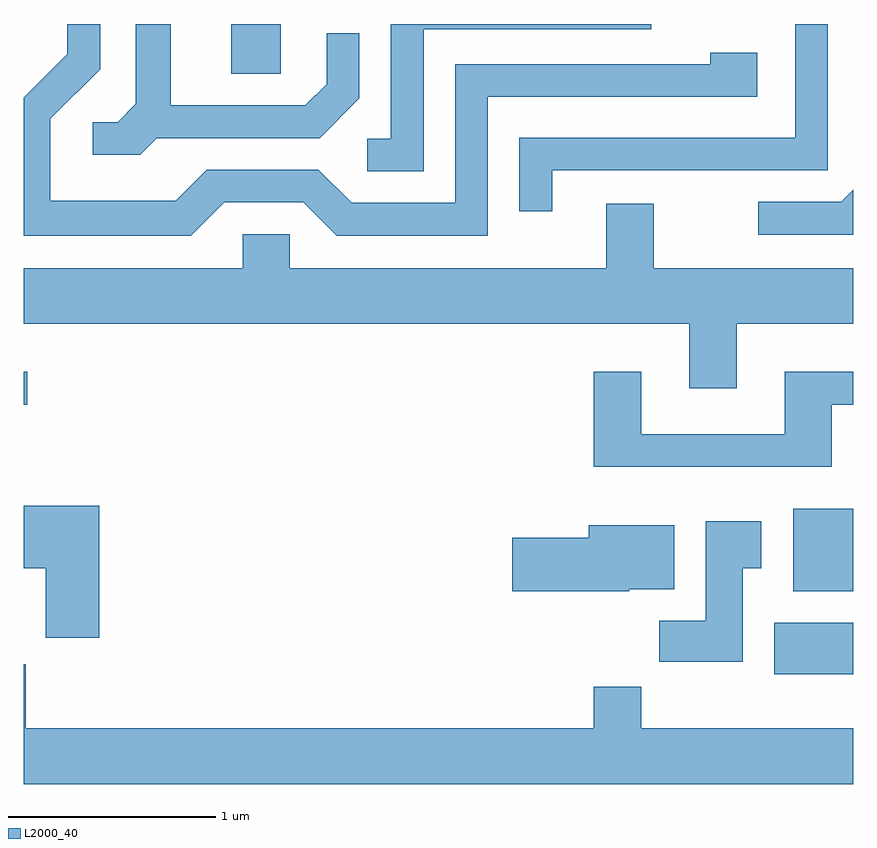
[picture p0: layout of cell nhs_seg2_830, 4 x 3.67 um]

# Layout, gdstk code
import gdstk
lib = gdstk.Library(unit=1e-6, precision=1e-09)
def R(c, l, rs):  # rectangles x0, y0, x1, y1
    for r in rs: c.add(gdstk.rectangle(r[:2], r[2:], *l))
def P(c, l, *ps):  # polygons
    for p in ps: c.add(gdstk.Polygon(p, *l))
L2000_40 = (2000, 40)

nhs_seg2_830 = lib.new_cell('nhs_seg2_830')
R(nhs_seg2_830, L2000_40, [(213.231,1006.666,213.611,1006.914), (213.321,1007.066,213.611,1007.464), (209.611,1007.966,209.628,1008.124), (210.611,1009.561,210.849,1009.802)])
P(nhs_seg2_830, L2000_40, [(210.252,1009.251),(211.037,1009.251),(211.229,1009.444),(211.229,1009.758),(211.071,1009.758),(211.071,1009.512),(210.969,1009.409),(210.319,1009.409),(210.319,1009.802),(210.151,1009.802),(210.151,1009.417),(210.064,1009.329),(209.943,1009.329),(209.943,1009.171),(210.172,1009.171)],
  [(211.539,1009.776),(212.638,1009.776),(212.638,1009.802),(211.381,1009.802),(211.381,1009.249),(211.268,1009.249),(211.268,1009.091),(211.539,1009.091)],
  [(210.577,1008.941),(210.959,1008.941),(211.119,1008.781),(211.849,1008.781),(211.849,1009.451),(213.149,1009.451),(213.149,1009.664),(212.921,1009.664),(212.921,1009.609),(211.691,1009.609),(211.691,1008.939),(211.192,1008.939),(211.032,1009.099),(210.494,1009.099),(210.344,1008.949),(209.739,1008.949),(209.739,1009.344),(209.979,1009.584),(209.979,1009.802),(209.821,1009.802),(209.821,1009.657),(209.611,1009.447),(209.611,1008.781),(210.417,1008.781)],
  [(212.159,1009.096),(213.489,1009.096),(213.489,1009.802),(213.331,1009.802),(213.331,1009.254),(212.001,1009.254),(212.001,1008.898),(212.159,1008.898)],
  [(213.611,1009.002),(213.554,1008.944),(213.153,1008.944),(213.153,1008.786),(213.611,1008.786)],
  [(213.049,1008.356),(213.611,1008.356),(213.611,1008.624),(212.649,1008.624),(212.649,1008.934),(212.421,1008.934),(212.421,1008.624),(210.894,1008.624),(210.894,1008.789),(210.666,1008.789),(210.666,1008.624),(209.611,1008.624),(209.611,1008.356),(212.821,1008.356),(212.821,1008.046),(213.049,1008.046)],
  [(213.509,1007.966),(213.611,1007.966),(213.611,1008.124),(213.281,1008.124),(213.281,1007.824),(212.589,1007.824),(212.589,1008.124),(212.361,1008.124),(212.361,1007.666),(213.509,1007.666)],
  [(209.974,1007.479),(209.611,1007.479),(209.611,1007.176),(209.716,1007.176),(209.716,1006.841),(209.974,1006.841)],
  [(213.079,1007.176),(213.169,1007.176),(213.169,1007.404),(212.901,1007.404),(212.901,1006.924),(212.676,1006.924),(212.676,1006.726),(213.079,1006.726)],
  [(212.53,1007.076),(212.749,1007.076),(212.749,1007.384),(212.336,1007.384),(212.336,1007.324),(211.966,1007.324),(211.966,1007.066),(212.53,1007.066)],
  [(213.611,1006.404),(212.589,1006.404),(212.589,1006.604),(212.361,1006.604),(212.361,1006.404),(209.619,1006.404),(209.619,1006.714),(209.611,1006.714),(209.611,1006.136),(213.611,1006.136)])

lib.write_gds('nhs_seg2_830.gds')
